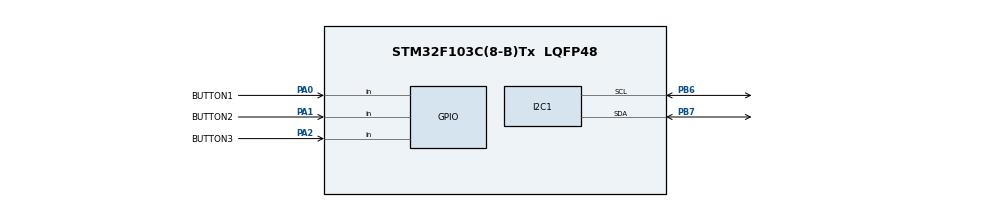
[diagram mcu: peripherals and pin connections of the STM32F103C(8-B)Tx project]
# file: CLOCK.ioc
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Mcu.Family=STM32F1
Mcu.Name=STM32F103C(8-B)Tx
Mcu.Package=LQFP48
NVIC.PriorityGroup=NVIC_PRIORITYGROUP_4
PA0-WKUP.GPIO_Label=BUTTON1
PA0-WKUP.GPIO_PuPd=GPIO_PULLUP
PA0-WKUP.Signal=GPIO_Input
PA1.GPIO_Label=BUTTON2
PA1.GPIO_PuPd=GPIO_PULLUP
PA1.Signal=GPIO_Input
PA13.Mode=Serial_Wire
PA13.Signal=SYS_JTMS-SWDIO
PA14.Mode=Serial_Wire
PA14.Signal=SYS_JTCK-SWCLK
PA2.GPIO_Label=BUTTON3
PA2.GPIO_PuPd=GPIO_PULLUP
PA2.Signal=GPIO_Input
PB6.Mode=I2C
PB6.Signal=I2C1_SCL
PB7.Mode=I2C
PB7.Signal=I2C1_SDA
PD0-OSC_IN.Mode=HSE-External-Oscillator
PD0-OSC_IN.Signal=RCC_OSC_IN
PD1-OSC_OUT.Mode=HSE-External-Oscillator
PD1-OSC_OUT.Signal=RCC_OSC_OUT
ProjectManager.HeapSize=0x200
ProjectManager.StackSize=0x400
ProjectManager.TargetToolchain=MDK-ARM V5.27
RCC.APB1Freq_Value=8000000
RCC.APB2Freq_Value=8000000
board=custom

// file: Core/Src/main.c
/* USER CODE BEGIN Header */
/**
  ******************************************************************************
  * @file           : main.c
  * @brief          : Main program body
  ******************************************************************************
  * @attention
  *
  * <h2><center>&copy; Copyright (c) 2024 STMicroelectronics.
  * All rights reserved.</center></h2>
  *
  * This software component is licensed by ST under BSD 3-Clause license,
  * the "License"; You may not use this file except in compliance with the
  * License. You may obtain a copy of the License at:
  *                        opensource.org/licenses/BSD-3-Clause
  *
  ******************************************************************************
  */
/* USER CODE END Header */
#include "main.h"

/* USER CODE BEGIN Includes */
#include "i2c_lcd.h"
#include "stdio.h"
#include "DS3231.h"
/* USER CODE END Includes */

I2C_HandleTypeDef hi2c1;
TIME time;
/* USER CODE BEGIN PV */
int congtru_tong = 0;
int congtru_menu1 = 0;
int demmenu1 = 0;
int contro = 0;
int congtru_menubaothuc = 0;
int contro_bt = 6;
int hang = 0;
int gtlen,gtxuong,gtmenu;
int demtong = 0;
int dembaothuc = 0;
int macdinh = 1;
char buffer[20];
int ngay = 1; int thang = 1; int namng = 0; int namtr = 0; int namch = 0; int namdv = 0; int namtong = 0; //SETUP DATE
int gio = 0; int phut = 0; int giay = 0; //SETUP TIME
int gio1 = 0; int phut1 = 0; int ngay1 = 1; int thang1 = 1; //BÁO TH?C 1
int gio2 = 0; int phut2 = 0; int ngay2 = 1; int thang2 = 1; //BÁO TH?C 2
int gio3 = 0; int phut3 = 0; int ngay3 = 1; int thang3 = 1; //BÁO TH?C 3
int gio4 = 0; int phut4 = 0; int ngay4 = 1; int thang4 = 1; //BÁO TH?C 4
int gio5 = 0; int phut5 = 0; int ngay5 = 1; int thang5 = 1; //BÁO TH?C 5
/* USER CODE END PV */

void SystemClock_Config(void);
static void MX_GPIO_Init(void);
static void MX_I2C1_Init(void);
/* USER CODE BEGIN PFP */
void ManHinhChinh(void);
void MenuTong(void);
void Menu1(void);
void chonmenu_1(void);
void chonmenu_tong(void);
void menu_baothuc(void);
void chonmenu_baothuc(void);
void tru_ngay_gio(int *ngay, int *gio);
void tru_thang_phut(int *thang, int *phut);
void cong_ngay_gio(int *ngay, int *gio);
void cong_thang_phut(int *thang, int *phut);
void hien_thi_bt(int *ngay, int *thang, int *gio, int *phut);
void tb_baothuc(void);
/* USER CODE END PFP */

int main(void)
{

  /* MCU Configuration--------------------------------------------------------*/

  /* Reset of all peripherals, Initializes the Flash interface and the Systick. */
  HAL_Init();

  /* Configure the system clock */
  SystemClock_Config();

  /* Initialize all configured peripherals */
  MX_GPIO_Init();
  MX_I2C1_Init();
  /* USER CODE BEGIN 2 */
	LCD_Init(2);
	//Set_Time(00,35,13,5,3,1,19);
	//ManHinhChinh();
  /* USER CODE END 2 */

  /* Infinite loop */
  while (1)
  {

    /* USER CODE BEGIN 3 */
		Get_Time();
		if (demtong == 0 && congtru_tong == 0 && dembaothuc == 0) // MÀN HÌNH
		{
			ManHinhChinh();
			LCD_NoCursor();
		}

		else if ((demtong == 2 || demtong == 3) && congtru_tong != 3) //Hi?n th? SETUP DATE or TIME
		{

			if(congtru_tong == 1) // SET DATE
			{
				if (ngay < 10)
				{
					LCD_SetCursor(0,1); LCD_PrintStr("0");
					sprintf(buffer, "%d", ngay);
					LCD_SetCursor(1,1); LCD_PrintStr(buffer);
				}
				else
				{
					sprintf(buffer, "%d", ngay);
					LCD_SetCursor(0,1); LCD_PrintStr(buffer);
				}

				LCD_SetCursor(2,1); LCD_PrintStr("/");

				if (thang < 10)
				{
					LCD_SetCursor(3,1); LCD_PrintStr("0");
					sprintf(buffer, "%d", thang);
					LCD_SetCursor(4,1); LCD_PrintStr(buffer);
				}
				else
				{
					sprintf(buffer, "%d", thang);
					LCD_SetCursor(3,1); LCD_PrintStr(buffer);
				}

				LCD_SetCursor(5,1); LCD_PrintStr("/");

				sprintf(buffer, "%d", namng);
				LCD_SetCursor(6,1); LCD_PrintStr(buffer);
				sprintf(buffer, "%d", namtr);
				LCD_SetCursor(7,1); LCD_PrintStr(buffer);
				sprintf(buffer, "%d", namch);
				LCD_SetCursor(8,1); LCD_PrintStr(buffer);
				sprintf(buffer, "%d", namdv);
				LCD_SetCursor(9,1); LCD_PrintStr(buffer);

				namtong = /*(namng * 1000) + (namtr * 100) + */(namch * 10) + namdv;

				LCD_SetCursor(contro, 1);
				LCD_Cursor();
				HAL_Delay(50);

				Set_Date(ngay, thang, namtong);
			}
			else if (congtru_tong == 2) // SET TIME
			{
				if (gio < 10)
				{
					LCD_SetCursor(0,1); LCD_PrintStr("0");
					sprintf(buffer, "%d", gio);
					LCD_SetCursor(1,1); LCD_PrintStr(buffer);
				}
				else
				{
					sprintf(buffer, "%d", gio);
					LCD_SetCursor(0,1); LCD_PrintStr(buffer);
				}

				LCD_SetCursor(2,1); LCD_PrintStr(":");

				if (phut < 10)
				{
					LCD_SetCursor(3,1); LCD_PrintStr("0");
					sprintf(buffer, "%d", phut);
					LCD_SetCursor(4,1); LCD_PrintStr(buffer);
				}
				else
				{
					sprintf(buffer, "%d", phut);
					LCD_SetCursor(3,1); LCD_PrintStr(buffer);
				}

				LCD_SetCursor(5,1); LCD_PrintStr(":");

				if (giay < 10)
				{
					LCD_SetCursor(6,1); LCD_PrintStr("0");
					sprintf(buffer, "%d", giay);
					LCD_SetCursor(7,1); LCD_PrintStr(buffer);
				}
				else
				{
					sprintf(buffer, "%d", giay);
					LCD_SetCursor(6,1); LCD_PrintStr(buffer);
				}
			}

			LCD_SetCursor(contro, 1);
			LCD_Cursor();
			HAL_Delay(50);

			Set_Time(giay, phut, gio);
		}
		else if ((demtong == 3 || demtong == 4) && congtru_tong == 3) //Hi?n th? SETUP BÁO TH?C
{
  if(congtru_menubaothuc == 1) //BT 1
    hien_thi_bt(&ngay1, &thang1, &gio1, &phut1);
  else if(congtru_menubaothuc == 2) //BT 2
    hien_thi_bt(&ngay2, &thang2, &gio2, &phut2);
  else if(congtru_menubaothuc == 3) //BT 3
    hien_thi_bt(&ngay3, &thang3, &gio3, &phut3);
  else if(congtru_menubaothuc == 4) //BT 4
    hien_thi_bt(&ngay4, &thang4, &gio4, &phut4);
  else if(congtru_menubaothuc == 5) //BT 5
    hien_thi_bt(&ngay5, &thang5, &gio5, &phut5);
}

if (demtong == 0){ // CH? KHI ? MÀN HÌNH CHÍNH M?I HI?N BÁO TH?C
  // Th?c thi BÁO TH?C
  if ((time.day == ngay1 || time.day == ngay2 || time.day == ngay3 || time.day == ngay4 || time.date == ngay5) &&
      (time.month == thang1 || time.month == thang2 || time.month == thang3 || time.month == thang4 || time.month == thang5) &&
      (time.hour == gio1 || time.hour == gio2 || time.hour == gio3 || time.hour == gio4 || time.hour == gio5) &&
      (time.min == phut1 || time.min == phut2 || time.min == phut3 || time.min == phut4 || time.min == phut5) && time.sec == 1)
  { dembaothuc = 1; }
} else dembaothuc = 0; // N?U ÐANG ? CÁC MENU HAY SETUP THÌ KHÔNG BÁO TH?C

if (dembaothuc == 1){
  tb_baothuc();
}

		if (HAL_GPIO_ReadPin(BUTTON2_GPIO_Port,BUTTON2_Pin)== 0) // Khi nh?n nút lên
		{
			while(HAL_GPIO_ReadPin(BUTTON2_GPIO_Port,BUTTON2_Pin) == 0){}
			if (demtong == 1)   // LÊN ? MENU T?NG
			{
				if (congtru_tong >= 5)
				{
					congtru_tong = 0;
				}
				else
				{
					congtru_tong++;
				}
				MenuTong();
			}
			else if (demtong == 2 && (congtru_tong == 1 || congtru_tong == 2))   // + CON TR? ? SET DATE và TIME
			{
				contro ++;
				if (contro > 15)
					contro = 0;
			}
			else if (demtong == 3) // - ? ngày, tháng, nam, gi?, phút, giây và + con tr? Báo Th?c
    {
      if(congtru_tong == 1) // - ? NGÀY, THÁNG, NAM
      {
        if ((contro == 0 || contro == 1)){ //NGÀY
          ngay --;
          if (ngay < 1)
            ngay = 31;
        }
        else if ((contro == 3 || contro == 4)){ //THÁNG
          thang --;
          if (thang < 1)
            thang = 12;
        }

          else if (contro == 6){ //NAM NGHÌN
            namng --;
            if (namng < 0)
              namng = 9;
          }
          else if (contro == 7){ //NAM TRAM
            namtr --;
            if (namtr < 0)
              namtr = 9;
          }
          else if (contro == 8){ //NAM CH?C
            namch --;
            if (namch < 0)
              namch = 9;
          }
          else if (contro == 9){ //NAM ÐON V?
            namdv --;
            if (namdv < 0)
              namdv = 9;
          }
      }
      else if (congtru_tong == 2) // - ? GI? : PHÚT : GIÂY
      {
        if ((contro == 0 || contro == 1)){ //GI?
          gio --;
          if (gio < 0)
            gio = 23;
        }
        else if ((contro == 3 || contro == 4)){ //PHÚT
          phut --;
          if (phut < 0)
            phut = 59;
        }
        else if ((contro == 6 || contro == 7)){ //GIÂY
          giay --;
          if (giay < 0)
            giay = 59;
        }
      }
      else if (congtru_tong == 3) // + CON TR? ? BÁO TH?C
      {
        contro_bt ++;
        if (hang == 0){
          if (contro_bt > 10)
          { contro_bt = 6;
            hang = 1; }
        } else {
          if (contro_bt > 15)
          { contro_bt = 6;
            hang = 0; }
        }
      }
		}
			else if (demtong == 2 && congtru_tong == 3) //Lên ? MENU BÁO TH?C
    {
      congtru_menubaothuc++;
      if (congtru_menubaothuc > 5)
        {congtru_menubaothuc = 0;}
      menu_baothuc();
    }

			else if (demtong == 4 && congtru_tong == 3) // - BÁO TH?C | NGÀY/THÁNG & GI?/PHÚT
    {
      if(contro_bt == 6 || contro_bt == 7) // Ngày or Gi?
      {
        if (congtru_menubaothuc == 1) // - NGÀY & GI? 1
          tru_ngay_gio(&ngay1, &gio1);
        else if (congtru_menubaothuc == 2) // - NGÀY & GI? 2
          tru_ngay_gio(&ngay2, &gio2);
        else if (congtru_menubaothuc == 3) // - NGÀY & GI? 3
          tru_ngay_gio(&ngay3, &gio3);
        else if (congtru_menubaothuc == 4) // - NGÀY & GI? 4
          tru_ngay_gio(&ngay4, &gio4);
        else if (congtru_menubaothuc == 5) // - NGÀY & GI? 5
          tru_ngay_gio(&ngay5, &gio5);
      }
      else if (contro_bt == 9 || contro_bt == 10) // Tháng or phút
      {
        if (congtru_menubaothuc == 1) // - THÁNG & PHÚT 1
          tru_thang_phut(&thang1, &phut1);
        else if (congtru_menubaothuc == 2) // - THÁNG & PHÚT 2
          tru_thang_phut(&thang2, &phut2);
        else if (congtru_menubaothuc == 3) // - THÁNG & PHÚT 3
          tru_thang_phut(&thang3, &phut3);
        else if (congtru_menubaothuc == 4) // - THÁNG & PHÚT 4
          tru_thang_phut(&thang4, &phut4);
        else if (congtru_menubaothuc == 5) // - THÁNG & PHÚT 5
          tru_thang_phut(&thang5, &phut5);
      }
    }
  }

		if (HAL_GPIO_ReadPin(BUTTON3_GPIO_Port,BUTTON3_Pin) != macdinh)
		{
			if (HAL_GPIO_ReadPin(BUTTON3_GPIO_Port,BUTTON3_Pin)== 0) // Khi nh?n nút lên
			{
				while(HAL_GPIO_ReadPin(BUTTON3_GPIO_Port,BUTTON3_Pin) == 0){}
				if (demtong == 1)   // LÊN ? MENU T?NG
				{
					if (congtru_tong <= 0)
					{
						congtru_tong = 5;
					}
					else
					{
						congtru_tong--;
					}
					MenuTong();
				}
				else if (demtong == 2 && (congtru_tong == 1 || congtru_tong == 2))   // - CON TR? ? SET DATE và TIME
				{
					contro --;
					if (contro < 0)
					{
						contro = 15;
					}
				}
				else if (demtong == 3) // + ? Ngày, tháng, nam, gi?, phút, giây và - con tr? Báo Th?c
				{
					if(congtru_tong == 1) // + ? NGÀY, THÁNG, NAM
					{
						if (contro == 0 || contro == 1){ // + NGÀY ? DATE
							ngay ++;
							if (ngay > 31)
								ngay = 1; }
						else if (contro == 3 || contro == 4){ // + THÁNG ? DATE
							thang ++;
							if (thang > 12)
								thang = 1; }
						else if (contro == 6){ // + NAM NGHÌN
							namng ++;
							if (namng > 9)
								namng = 0; }
						else if (contro == 7){// + NAM TRAM
							namtr ++;
							if (namtr > 9)
								namtr = 0; }
						else if (contro == 8){// + NAM CH?C
							namch ++;
							if (namch > 9)
								namch = 0; }
						else if (contro == 9){// + NAM ÐON V?
							namdv ++;
							if (namdv > 9)
								namdv = 0; }
					}
					else if(congtru_tong == 2) //+ ? GI? : PHÚT :GIÂY
					{
						if (contro == 0 || contro == 1){ //GI?
							gio ++;
							if (gio > 23)
								gio = 0;     }

						else if (contro == 3 || contro == 4){ //PHÚT
							phut ++;
							if (phut > 59)
								phut = 0;  }

						else if (contro == 6 || contro == 7){ //GIÂY
							giay ++;
							if (giay > 59)
								giay = 0;  }
					}
					else if(congtru_tong == 3) // - CON TR? ? BÁO TH?C
					{
						contro_bt--;
						if (hang == 0){
							if (contro_bt < 6)
							{ contro_bt = 15;
								hang = 1; }
						} else {
							if (contro_bt < 6)
							{ contro_bt = 10;
								hang = 0; }
						}
					}
				}
				else if (demtong == 2 && congtru_tong == 3) //Xu?ng ? MENU BÁO TH?C
				{
					congtru_menubaothuc --;
					if (congtru_menubaothuc < 0)
						{congtru_menubaothuc = 5;}
					menu_baothuc();
				}
				else if (demtong == 4 && congtru_tong == 3) // - BÁO TH?C | NGÀY/THÁNG & GI?/PHÚT
				{
					if(contro_bt == 6 || contro_bt == 7) // Ngày or Gi?
					{
						if (congtru_menubaothuc == 1) // - NGÀY & GI? 1
							cong_ngay_gio(&ngay1, &gio1);
						else if (congtru_menubaothuc == 2) // - NGÀY & GI? 2
							cong_ngay_gio(&ngay2, &gio2);
						else if (congtru_menubaothuc == 3) // - NGÀY & GI? 3
							cong_ngay_gio(&ngay3, &gio3);
						else if (congtru_menubaothuc == 4) // - NGÀY & GI? 4
							cong_ngay_gio(&ngay4, &gio4);
						else if (congtru_menubaothuc == 5) // - NGÀY & GI? 5
							cong_ngay_gio(&ngay5, &gio5);
					}
					else if (contro_bt == 9 || contro_bt == 10) // Tháng or phút
					{
						if (congtru_menubaothuc == 1) // - THÁNG & PHÚT 1
							cong_thang_phut(&thang1, &phut1);
						else if (congtru_menubaothuc == 2) // - THÁNG & PHÚT 2
							cong_thang_phut(&thang2, &phut2);
						else if (congtru_menubaothuc == 3) // - THÁNG & PHÚT 3
							cong_thang_phut(&thang3, &phut3);
						else if (congtru_menubaothuc == 4) // - THÁNG & PHÚT 4
							cong_thang_phut(&thang4, &phut4);
						else if (congtru_menubaothuc == 5) // - THÁNG & PHÚT 5
							cong_thang_phut(&thang5, &phut5);
					}
				}
    }
	}

		if (HAL_GPIO_ReadPin(BUTTON1_GPIO_Port,BUTTON1_Pin) != macdinh)    // NÚT MENU
		{
			if (HAL_GPIO_ReadPin(BUTTON1_GPIO_Port,BUTTON1_Pin) == 0) //Khi nh?n nút
			{
				while(HAL_GPIO_ReadPin(BUTTON1_GPIO_Port,BUTTON1_Pin) == 0){}
				demtong ++;

				if (demtong == 1) //? menu t?ng
				{
					MenuTong();
				}
				else if (demtong == 2)
				{					//Nh?n BACK t? Menu t?ng v? màn hình
					if(congtru_tong == 0)
					{
						demtong = 0;
						ManHinhChinh();
					}
					else if(congtru_tong == 1 || congtru_tong == 2) // ch?n menu t?ng DATE or TIME
						chonmenu_tong();
					else if(congtru_tong == 3) //Menu BÁO TH?C
					menu_baothuc();
				}
				else if (demtong == 4) //Thoát CON TR? t? SET DATE or TIME ra
				{
					if (congtru_tong == 1) //Thoát CON TR? t? SET DATE ra
					{
						demtong = 2;
						chonmenu_tong();
					}
					else if (congtru_tong == 2) //Thoát CON TR? t? SET TIME ra
					{
						demtong = 2;
						chonmenu_tong();
					}
					else if (congtru_tong == 3 && (contro_bt == 12 || contro_bt == 13 || contro_bt == 14 || contro_bt == 15)) //Thoát t? SET BT ra menu báo th?c
					{
						menu_baothuc();
						demtong = 2;
						congtru_tong = 3;
						contro_bt = 6;
						hang = 0;
						LCD_NoCursor();
					}
				}

				else if (demtong == 3 && (congtru_tong == 2 || congtru_tong == 1) && // Thoát t? SET DATE or TIME ra
            (contro == 12 || contro == 13 || contro == 14 || contro == 15))
					{
						demtong = 1;
						congtru_tong = 0;
						contro = 0;
						MenuTong();
						LCD_NoCursor();
					}

					 else if (demtong == 3 && congtru_tong == 3) //Ch?n MENU Báo Th?c
      {
        if(congtru_menubaothuc == 0){ //t? Menu BÁO TH?C v? Menu T?NG
          demtong = 1;
          congtru_menubaothuc = 0;
          MenuTong();}

        else if(congtru_menubaothuc == 1 || congtru_menubaothuc == 2 || congtru_menubaothuc == 3
                || congtru_menubaothuc == 4 || congtru_menubaothuc == 5) //ch?n menu BT
        {
          chonmenu_baothuc();
        }
      }

    else if (demtong == 5 && congtru_tong == 3 && (congtru_menubaothuc == 1 || congtru_menubaothuc == 2
            || congtru_menubaothuc == 3 || congtru_menubaothuc == 4 || congtru_menubaothuc == 5))  //T? ch?c nang SET ra
      {
        chonmenu_baothuc();
        demtong = 3;
      }

    if(dembaothuc == 1){ //Ðang có BÁO TH?C
      dembaothuc = 0;
      demtong = 0; }
			}
		}
	}
  /* USER CODE END 3 */
}

void SystemClock_Config(void)
{
  RCC_OscInitTypeDef RCC_OscInitStruct = {0};
  RCC_ClkInitTypeDef RCC_ClkInitStruct = {0};

  /** Initializes the RCC Oscillators according to the specified parameters
  * in the RCC_OscInitTypeDef structure.
  */
  RCC_OscInitStruct.OscillatorType = RCC_OSCILLATORTYPE_HSI;
  RCC_OscInitStruct.HSIState = RCC_HSI_ON;
  RCC_OscInitStruct.HSICalibrationValue = RCC_HSICALIBRATION_DEFAULT;
  RCC_OscInitStruct.PLL.PLLState = RCC_PLL_NONE;
  if (HAL_RCC_OscConfig(&RCC_OscInitStruct) != HAL_OK)
  {
    Error_Handler();
  }
  /** Initializes the CPU, AHB and APB buses clocks
  */
  RCC_ClkInitStruct.ClockType = RCC_CLOCKTYPE_HCLK|RCC_CLOCKTYPE_SYSCLK
                              |RCC_CLOCKTYPE_PCLK1|RCC_CLOCKTYPE_PCLK2;
  RCC_ClkInitStruct.SYSCLKSource = RCC_SYSCLKSOURCE_HSI;
  RCC_ClkInitStruct.AHBCLKDivider = RCC_SYSCLK_DIV1;
  RCC_ClkInitStruct.APB1CLKDivider = RCC_HCLK_DIV1;
  RCC_ClkInitStruct.APB2CLKDivider = RCC_HCLK_DIV1;

  if (HAL_RCC_ClockConfig(&RCC_ClkInitStruct, FLASH_LATENCY_0) != HAL_OK)
  {
    Error_Handler();
  }
}

static void MX_I2C1_Init(void)
{

  hi2c1.Instance = I2C1;
  hi2c1.Init.ClockSpeed = 100000;
  hi2c1.Init.DutyCycle = I2C_DUTYCYCLE_2;
  hi2c1.Init.OwnAddress1 = 0;
  hi2c1.Init.AddressingMode = I2C_ADDRESSINGMODE_7BIT;
  hi2c1.Init.DualAddressMode = I2C_DUALADDRESS_DISABLE;
  hi2c1.Init.OwnAddress2 = 0;
  hi2c1.Init.GeneralCallMode = I2C_GENERALCALL_DISABLE;
  hi2c1.Init.NoStretchMode = I2C_NOSTRETCH_DISABLE;
  if (HAL_I2C_Init(&hi2c1) != HAL_OK)
  {
    Error_Handler();
  }

}

static void MX_GPIO_Init(void)
{
  GPIO_InitTypeDef GPIO_InitStruct = {0};

  /* GPIO Ports Clock Enable */
  __HAL_RCC_GPIOD_CLK_ENABLE();
  __HAL_RCC_GPIOA_CLK_ENABLE();
  __HAL_RCC_GPIOB_CLK_ENABLE();

  /*Configure GPIO pins : BUTTON1_Pin BUTTON2_Pin BUTTON3_Pin */
  GPIO_InitStruct.Pin = BUTTON1_Pin|BUTTON2_Pin|BUTTON3_Pin;
  GPIO_InitStruct.Mode = GPIO_MODE_INPUT;
  GPIO_InitStruct.Pull = GPIO_PULLUP;
  HAL_GPIO_Init(GPIOA, &GPIO_InitStruct);

}

/* USER CODE BEGIN 4 */
void ManHinhChinh(void)
{
	//LCD_Clear();
	sprintf (buffer, "%02d:%02d:%02d", time.hour,time.min,time.sec);
	LCD_SetCursor(0,0);
	LCD_PrintStr(buffer);

	sprintf (buffer, "%02d-%02d-20%02d", time.day, time.month, time.year);
	LCD_SetCursor(0,1);
	LCD_PrintStr(buffer);
	HAL_Delay(500);
}

void MenuTong(void)
{
	if (congtru_tong == 0)
  {
    LCD_Clear();
		LCD_SetCursor(0,0);
		LCD_PrintStr(">BACK");
    LCD_SetCursor(0,1);
    LCD_PrintStr(" DATE");
  }
	else if (congtru_tong == 1)
  {
    LCD_Clear();
		LCD_SetCursor(0,0);
		LCD_PrintStr(" BACK");
    LCD_SetCursor(0,1);
    LCD_PrintStr(">DATE");
  }
	else if (congtru_tong == 2)
  {
    LCD_Clear();
		LCD_SetCursor(0,0);
		LCD_PrintStr(">TIME");
    LCD_SetCursor(0,1);
    LCD_PrintStr(" ALARM");
  }
	else if (congtru_tong == 3)
  {
    LCD_Clear();
		LCD_SetCursor(0,0);
		LCD_PrintStr(" TIME");
    LCD_SetCursor(0,1);
    LCD_PrintStr(">ALARM");
  }
}

void chonmenu_tong(void) // CH?N MENU T?NG
{
  switch (congtru_tong)
  {
    case 0:
      //BACK
      break;
    case 1:
      LCD_Clear();
      LCD_SetCursor(0,0);
      LCD_PrintStr("SETUP DATE");
      LCD_SetCursor(12,1);
      LCD_PrintStr("BACK");
      break;
    case 2:
      LCD_Clear();
      LCD_SetCursor(0,0);
      LCD_PrintStr("SETUP TIME");
      LCD_SetCursor(12,1);
      LCD_PrintStr("BACK");
      break;
    case 3:
      // BÁO TH?C
      break;
  }
}

void menu_baothuc(void) // HI?N TH? MENU BÁO TH?C
{
  if (congtru_menubaothuc == 0)
  {
    LCD_Clear();
		LCD_SetCursor(0,0);
    LCD_PrintStr(">BACK");
    LCD_SetCursor(0, 1);
    LCD_PrintStr(" BAO THUC 1");
  }
  else if (congtru_menubaothuc == 1)
  {
    LCD_Clear();
		LCD_SetCursor(0,0);
    LCD_PrintStr(" BACK");
    LCD_SetCursor(0, 1);
    LCD_PrintStr(">BAO THUC 1");
  }
  else if (congtru_menubaothuc == 2)
  {
    LCD_Clear();
		LCD_SetCursor(0,0);
    LCD_PrintStr(" BAO THUC 1");
    LCD_SetCursor(0, 1);
    LCD_PrintStr(">BAO THUC 2");
  }
  else if (congtru_menubaothuc == 3)
  {
    LCD_Clear();
		LCD_SetCursor(0,0);
    LCD_PrintStr(" BAO THUC 2");
    LCD_SetCursor(0, 1);
    LCD_PrintStr(">BAO THUC 3");
  }
  else if (congtru_menubaothuc == 4)
  {
    LCD_Clear();
		LCD_SetCursor(0,0);
    LCD_PrintStr(">BAO THUC 4");
    LCD_SetCursor(0, 1);
    LCD_PrintStr(" BAO THUC 5");
  }
  else if (congtru_menubaothuc == 5)
  {
    LCD_Clear();
		LCD_SetCursor(0,0);
    LCD_PrintStr(" BAO THUC 4");
    LCD_SetCursor(0, 1);
    LCD_PrintStr(">BAO THUC 5");
  }
}

void chonmenu_baothuc(void) // CH?N MENU BÁO TH?C
{
  switch (congtru_menubaothuc)
  {
    case 0:
      //BACK
      break;
    case 1:
      LCD_Clear();
      LCD_SetCursor(0,0);
      LCD_PrintStr("DATE: ");
      LCD_SetCursor(0,1);
      LCD_PrintStr("TIME: ");
      LCD_SetCursor(12,1);
      LCD_PrintStr("BACK");
      break;
    case 2:
      LCD_Clear();
      LCD_SetCursor(0,0);
      LCD_PrintStr("DATE: ");
      LCD_SetCursor(0,1);
      LCD_PrintStr("TIME: ");
      LCD_SetCursor(12,1);
      LCD_PrintStr("BACK");
      break;
    case 3:
      LCD_Clear();
      LCD_SetCursor(0,0);
      LCD_PrintStr("DATE: ");
      LCD_SetCursor(0,1);
      LCD_PrintStr("TIME: ");
      LCD_SetCursor(12,1);
      LCD_PrintStr("BACK");
      break;
    case 4:
      LCD_Clear();
      LCD_SetCursor(0,0);
      LCD_PrintStr("DATE: ");
      LCD_SetCursor(0,1);
      LCD_PrintStr("TIME: ");
      LCD_SetCursor(12,1);
      LCD_PrintStr("BACK");
      break;
    case 5:
      LCD_Clear();
      LCD_SetCursor(0,0);
      LCD_PrintStr("DATE: ");
      LCD_SetCursor(0,1);
      LCD_PrintStr("TIME: ");
      LCD_SetCursor(12,1);
      LCD_PrintStr("BACK");
      break;
  }
}

void tru_ngay_gio(int *ngay, int *gio)
{
  if (hang == 0){ // - NGÀY
    (*ngay)--;
    if ((*ngay)< 1)
      (*ngay) = 31; }
  else if (hang == 1){ // - GI?
    (*gio)--;
    if ((*gio) < 0)
      (*gio) = 23; }
}
void tru_thang_phut(int *thang, int *phut)
{
  if (hang == 0){ // - THÁNG
    (*thang)--;
    if ((*thang) < 1)
      (*thang) = 12; }
  else if (hang == 1){  // - PHÚT
    (*phut)--;
    if ((*phut) < 0)
      (*phut) = 59; }
}
void cong_ngay_gio(int *ngay, int *gio)
{
  if (hang == 0){ // + NGÀY
    (*ngay)++;
    if ((*ngay) > 31)
      (*ngay) = 1;  }
  else if (hang == 1){ // + GI?
    (*gio)++;
    if ((*gio) > 23)
      (*gio) = 0; }
}
void cong_thang_phut(int *thang, int *phut)
{
  if (hang == 0){ // + THÁNG
    (*thang)++;
    if ((*thang) > 12)
      (*thang) = 1; }
  else if (hang == 1){ // + PHÚT
    (*phut)++;
    if ((*phut) > 59)
      (*phut) = 0; }
}
void hien_thi_bt(int *ngay, int *thang, int *gio, int *phut)
{
  // Hi?n th? ngày
  if (*ngay < 10) {
    LCD_SetCursor(6, 0); LCD_PrintStr("0");
    sprintf(buffer, "%d", *ngay);
    LCD_SetCursor(7, 0); LCD_PrintStr(buffer);
  } else {
    sprintf(buffer, "%d", *ngay);
    LCD_SetCursor(6, 0); LCD_PrintStr(buffer);
  }

  LCD_SetCursor(8, 0); LCD_PrintStr("/");

  // Hi?n th? tháng
  if (*thang < 10) {
    LCD_SetCursor(9, 0); LCD_PrintStr("0");
    sprintf(buffer, "%d", *thang);
    LCD_SetCursor(10, 0); LCD_PrintStr(buffer);
  } else {
    sprintf(buffer, "%d", *thang);
    LCD_SetCursor(9, 0); LCD_PrintStr(buffer);
  }

  LCD_SetCursor(11, 0); LCD_PrintStr("/");

  // Hi?n th? gi?
  if (*gio < 10) {
    LCD_SetCursor(6, 1); LCD_PrintStr("0");
    sprintf(buffer, "%d", *gio);
    LCD_SetCursor(7, 1); LCD_PrintStr(buffer);
  } else {
    sprintf(buffer, "%d", *gio);
    LCD_SetCursor(6, 1); LCD_PrintStr(buffer);
  }

  LCD_SetCursor(8, 1); LCD_PrintStr(":");

  // Hi?n th? phút
  if (*phut < 10) {
    LCD_SetCursor(9, 1); LCD_PrintStr("0");
    sprintf(buffer, "%d", *phut);
    LCD_SetCursor(10, 1); LCD_PrintStr(buffer);
  } else {
    sprintf(buffer, "%d", *phut);
    LCD_SetCursor(9, 1); LCD_PrintStr(buffer);
  }

  LCD_SetCursor(contro_bt, hang);
  LCD_Cursor();
  HAL_Delay(50);
}

void tb_baothuc(void)
{
  LCD_Clear();
  LCD_SetCursor(3,0);
  LCD_PrintStr("THONG BAO");
  LCD_SetCursor(2,1);
  LCD_PrintStr("CO BAO THUC");
}

/* USER CODE END 4 */

void Error_Handler(void)
{
}

/************************ (C) COPYRIGHT STMicroelectronics *****END OF FILE****/
